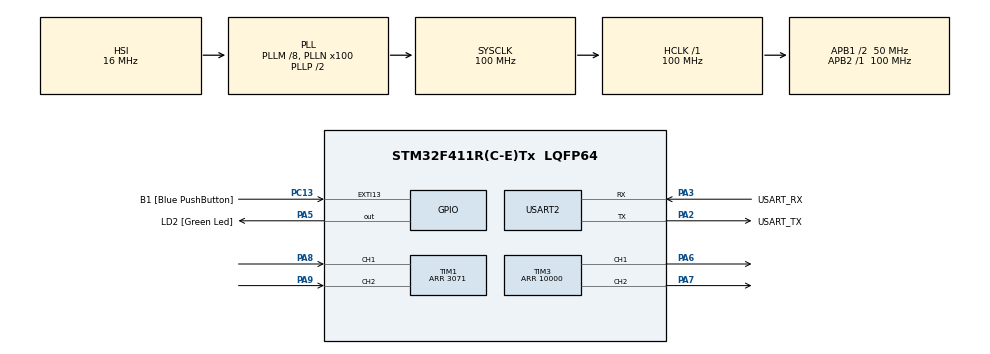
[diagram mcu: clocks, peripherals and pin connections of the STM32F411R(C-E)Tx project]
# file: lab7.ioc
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Mcu.Family=STM32F4
PC15-OSC32_OUT.Mode=LSE-External-Oscillator
RCC.CortexFreq_Value=100000000
PC13-ANTI_TAMP.GPIO_Label=B1 [Blue PushButton]
PA14.GPIO_Label=TCK
PH1\ -\ OSC_OUT.Mode=HSE-External-Clock-Source
TIM1.EncoderMode=TIM_ENCODERMODE_TI12
RCC.APB1CLKDivider=RCC_HCLK_DIV2
PC14-OSC32_IN.Signal=RCC_OSC32_IN
RCC.SYSCLKSource=RCC_SYSCLKSOURCE_PLLCLK
ProjectManager.StackSize=0x400
PA3.Mode=Asynchronous
PA13.Signal=SYS_JTMS-SWDIO
PH0\ -\ OSC_IN.Mode=HSE-External-Clock-Source
SH.S_TIM1_CH1.0=TIM1_CH1,Encoder_Interface
PH0\ -\ OSC_IN.Signal=RCC_OSC_IN
ProjectManager.TargetToolchain=STM32CubeIDE
RCC.HCLKFreq_Value=100000000
RCC.APB2TimFreq_Value=100000000
TIM3.Period=10000
PA9.Signal=S_TIM1_CH2
PC15-OSC32_OUT.Signal=RCC_OSC32_OUT
RCC.AHBFreq_Value=100000000
TIM3.Channel-PWM\ Generation1\ CH1=TIM_CHANNEL_1
PA5.Signal=GPIO_Output
SH.S_TIM3_CH2.0=TIM3_CH2,PWM Generation2 CH2
RCC.HSE_VALUE=8000000
PH1\ -\ OSC_OUT.Signal=RCC_OSC_OUT
board=NUCLEO-F411RE
PC13-ANTI_TAMP.Signal=GPXTI13
RCC.VCOOutputFreq_Value=200000000
RCC.APB2Freq_Value=100000000
PC14-OSC32_IN.Mode=LSE-External-Oscillator
SH.S_TIM1_CH2.0=TIM1_CH2,Encoder_Interface
VP_TIM2_VS_ClockSourceINT.Mode=Internal
PA14.Mode=Serial_Wire
PA8.Signal=S_TIM1_CH1
SH.S_TIM3_CH1.0=TIM3_CH1,PWM Generation1 CH1
PA13.Mode=Serial_Wire
Mcu.Name=STM32F411R(C-E)Tx
PA2.Signal=USART2_TX
PA13.GPIO_Label=TMS
RCC.FLatency-AdvancedSettings=FLASH_LATENCY_3
RCC.48MHZClocksFreq_Value=50000000
PB3.Signal=SYS_JTDO-SWO
RCC.SYSCLKFreq_VALUE=100000000
Mcu.Package=LQFP64
TIM2.Prescaler=99
PA6.Signal=S_TIM3_CH1
PA5.GPIO_Label=LD2 [Green Led]
USART2.VirtualMode=VM_ASYNC
PC13-ANTI_TAMP.GPIO_ModeDefaultEXTI=GPIO_MODE_IT_FALLING
PA2.GPIO_Label=USART_TX
PA14.Signal=SYS_JTCK-SWCLK
ProjectManager.HeapSize=0x200
RCC.HSI_VALUE=16000000
NVIC.PriorityGroup=NVIC_PRIORITYGROUP_0
TIM3.Channel-PWM\ Generation2\ CH2=TIM_CHANNEL_2
RCC.PLLM=8
RCC.PLLN=100
RCC.APB1TimFreq_Value=100000000
PA2.Mode=Asynchronous
TIM1.Period=3071
RCC.APB1Freq_Value=50000000
VP_TIM3_VS_ClockSourceINT.Mode=Internal
PA3.GPIO_Label=USART_RX
PA3.Signal=USART2_RX
PA7.Signal=S_TIM3_CH2
PB3.GPIO_Label=SWO

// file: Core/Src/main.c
/* USER CODE BEGIN Header */
/**
 ******************************************************************************
 * @file           : main.c
 * @brief          : Main program body
 ******************************************************************************
 * @attention
 *
 * <h2><center>&copy; Copyright (c) 2021 STMicroelectronics.
 * All rights reserved.</center></h2>
 *
 * This software component is licensed by ST under BSD 3-Clause license,
 * the "License"; You may not use this file except in compliance with the
 * License. You may obtain a copy of the License at:
 *                        opensource.org/licenses/BSD-3-Clause
 *
 ******************************************************************************
 */
/* USER CODE END Header */
#include "main.h"

TIM_HandleTypeDef htim1;
TIM_HandleTypeDef htim2;
TIM_HandleTypeDef htim3;

UART_HandleTypeDef huart2;

/* USER CODE BEGIN PV */
int OUTPUTPWM = 3000;
uint64_t _micros = 0;
float EncoderVel = 0;
float SETUP_RPM = 0;
float EncoderRPM = 0;
uint64_t Timestamp_Encoder = 0;
float KP = 87;
float KI = 0.4;
float KD = 2;
float SummaryError;
float ErrorValue;
float LastError;
/* USER CODE END PV */

void SystemClock_Config(void);
static void MX_GPIO_Init(void);
static void MX_USART2_UART_Init(void);
static void MX_TIM1_Init(void);
static void MX_TIM2_Init(void);
static void MX_TIM3_Init(void);
/* USER CODE BEGIN PFP */
uint64_t micros();
float EncoderVelocity_Update();
/* USER CODE END PFP */

int main(void)
{

  /* MCU Configuration--------------------------------------------------------*/

  /* Reset of all peripherals, Initializes the Flash interface and the Systick. */
  HAL_Init();

  /* Configure the system clock */
  SystemClock_Config();

  /* Initialize all configured peripherals */
  MX_GPIO_Init();
  MX_USART2_UART_Init();
  MX_TIM1_Init();
  MX_TIM2_Init();
  MX_TIM3_Init();
  /* USER CODE BEGIN 2 */
	HAL_TIM_Base_Start(&htim3);
	HAL_TIM_PWM_Start(&htim3, TIM_CHANNEL_1);
	HAL_TIM_PWM_Start(&htim3, TIM_CHANNEL_2);
	HAL_TIM_Base_Start_IT(&htim2);
	HAL_TIM_Encoder_Start(&htim1, TIM_CHANNEL_ALL);
  /* USER CODE END 2 */

  /* Infinite loop */
	while (1) {

    /* USER CODE BEGIN 3 */

//		Add LPF?
		if (micros() - Timestamp_Encoder >= 1000) {
			Timestamp_Encoder = micros();
			EncoderVel = (EncoderVel * 99 + EncoderVelocity_Update()) / 100.0;
			EncoderRPM = ((EncoderRPM * 79)
					+ (EncoderVel * 60) / 3072) / 80.0;

			ControlPWM();
			RunMotor();
//			if (SETUP_RPM > 0) {
//				__HAL_TIM_SET_COMPARE(&htim3, TIM_CHANNEL_1, OUTPUTPWM);
//				__HAL_TIM_SET_COMPARE(&htim3, TIM_CHANNEL_2, 0);
//
//			} else if (SETUP_RPM < 0) {
//				__HAL_TIM_SET_COMPARE(&htim3, TIM_CHANNEL_1, 0);
//				__HAL_TIM_SET_COMPARE(&htim3, TIM_CHANNEL_2, OUTPUTPWM);
//
//			} else {
//				__HAL_TIM_SET_COMPARE(&htim3, TIM_CHANNEL_1, 0);
//				__HAL_TIM_SET_COMPARE(&htim3, TIM_CHANNEL_2, 0);
//
//			}
		}
	}
  /* USER CODE END 3 */
}

void SystemClock_Config(void)
{
  RCC_OscInitTypeDef RCC_OscInitStruct = {0};
  RCC_ClkInitTypeDef RCC_ClkInitStruct = {0};

  /** Configure the main internal regulator output voltage
  */
  __HAL_RCC_PWR_CLK_ENABLE();
  __HAL_PWR_VOLTAGESCALING_CONFIG(PWR_REGULATOR_VOLTAGE_SCALE1);
  /** Initializes the RCC Oscillators according to the specified parameters
  * in the RCC_OscInitTypeDef structure.
  */
  RCC_OscInitStruct.OscillatorType = RCC_OSCILLATORTYPE_HSI;
  RCC_OscInitStruct.HSIState = RCC_HSI_ON;
  RCC_OscInitStruct.HSICalibrationValue = RCC_HSICALIBRATION_DEFAULT;
  RCC_OscInitStruct.PLL.PLLState = RCC_PLL_ON;
  RCC_OscInitStruct.PLL.PLLSource = RCC_PLLSOURCE_HSI;
  RCC_OscInitStruct.PLL.PLLM = 8;
  RCC_OscInitStruct.PLL.PLLN = 100;
  RCC_OscInitStruct.PLL.PLLP = RCC_PLLP_DIV2;
  RCC_OscInitStruct.PLL.PLLQ = 4;
  if (HAL_RCC_OscConfig(&RCC_OscInitStruct) != HAL_OK)
  {
    Error_Handler();
  }
  /** Initializes the CPU, AHB and APB buses clocks
  */
  RCC_ClkInitStruct.ClockType = RCC_CLOCKTYPE_HCLK|RCC_CLOCKTYPE_SYSCLK
                              |RCC_CLOCKTYPE_PCLK1|RCC_CLOCKTYPE_PCLK2;
  RCC_ClkInitStruct.SYSCLKSource = RCC_SYSCLKSOURCE_PLLCLK;
  RCC_ClkInitStruct.AHBCLKDivider = RCC_SYSCLK_DIV1;
  RCC_ClkInitStruct.APB1CLKDivider = RCC_HCLK_DIV2;
  RCC_ClkInitStruct.APB2CLKDivider = RCC_HCLK_DIV1;

  if (HAL_RCC_ClockConfig(&RCC_ClkInitStruct, FLASH_LATENCY_3) != HAL_OK)
  {
    Error_Handler();
  }
}

static void MX_TIM1_Init(void)
{

  TIM_Encoder_InitTypeDef sConfig = {0};
  TIM_MasterConfigTypeDef sMasterConfig = {0};

  htim1.Instance = TIM1;
  htim1.Init.Prescaler = 0;
  htim1.Init.CounterMode = TIM_COUNTERMODE_UP;
  htim1.Init.Period = 3071;
  htim1.Init.ClockDivision = TIM_CLOCKDIVISION_DIV1;
  htim1.Init.RepetitionCounter = 0;
  htim1.Init.AutoReloadPreload = TIM_AUTORELOAD_PRELOAD_DISABLE;
  sConfig.EncoderMode = TIM_ENCODERMODE_TI12;
  sConfig.IC1Polarity = TIM_ICPOLARITY_RISING;
  sConfig.IC1Selection = TIM_ICSELECTION_DIRECTTI;
  sConfig.IC1Prescaler = TIM_ICPSC_DIV1;
  sConfig.IC1Filter = 2;
  sConfig.IC2Polarity = TIM_ICPOLARITY_RISING;
  sConfig.IC2Selection = TIM_ICSELECTION_DIRECTTI;
  sConfig.IC2Prescaler = TIM_ICPSC_DIV1;
  sConfig.IC2Filter = 2;
  if (HAL_TIM_Encoder_Init(&htim1, &sConfig) != HAL_OK)
  {
    Error_Handler();
  }
  sMasterConfig.MasterOutputTrigger = TIM_TRGO_RESET;
  sMasterConfig.MasterSlaveMode = TIM_MASTERSLAVEMODE_DISABLE;
  if (HAL_TIMEx_MasterConfigSynchronization(&htim1, &sMasterConfig) != HAL_OK)
  {
    Error_Handler();
  }

}

static void MX_TIM2_Init(void)
{

  TIM_ClockConfigTypeDef sClockSourceConfig = {0};
  TIM_MasterConfigTypeDef sMasterConfig = {0};

  htim2.Instance = TIM2;
  htim2.Init.Prescaler = 99;
  htim2.Init.CounterMode = TIM_COUNTERMODE_UP;
  htim2.Init.Period = 4294967295;
  htim2.Init.ClockDivision = TIM_CLOCKDIVISION_DIV1;
  htim2.Init.AutoReloadPreload = TIM_AUTORELOAD_PRELOAD_DISABLE;
  if (HAL_TIM_Base_Init(&htim2) != HAL_OK)
  {
    Error_Handler();
  }
  sClockSourceConfig.ClockSource = TIM_CLOCKSOURCE_INTERNAL;
  if (HAL_TIM_ConfigClockSource(&htim2, &sClockSourceConfig) != HAL_OK)
  {
    Error_Handler();
  }
  sMasterConfig.MasterOutputTrigger = TIM_TRGO_RESET;
  sMasterConfig.MasterSlaveMode = TIM_MASTERSLAVEMODE_DISABLE;
  if (HAL_TIMEx_MasterConfigSynchronization(&htim2, &sMasterConfig) != HAL_OK)
  {
    Error_Handler();
  }

}

static void MX_TIM3_Init(void)
{

  TIM_ClockConfigTypeDef sClockSourceConfig = {0};
  TIM_MasterConfigTypeDef sMasterConfig = {0};
  TIM_OC_InitTypeDef sConfigOC = {0};

  htim3.Instance = TIM3;
  htim3.Init.Prescaler = 99;
  htim3.Init.CounterMode = TIM_COUNTERMODE_UP;
  htim3.Init.Period = 10000;
  htim3.Init.ClockDivision = TIM_CLOCKDIVISION_DIV1;
  htim3.Init.AutoReloadPreload = TIM_AUTORELOAD_PRELOAD_DISABLE;
  if (HAL_TIM_Base_Init(&htim3) != HAL_OK)
  {
    Error_Handler();
  }
  sClockSourceConfig.ClockSource = TIM_CLOCKSOURCE_INTERNAL;
  if (HAL_TIM_ConfigClockSource(&htim3, &sClockSourceConfig) != HAL_OK)
  {
    Error_Handler();
  }
  if (HAL_TIM_PWM_Init(&htim3) != HAL_OK)
  {
    Error_Handler();
  }
  sMasterConfig.MasterOutputTrigger = TIM_TRGO_RESET;
  sMasterConfig.MasterSlaveMode = TIM_MASTERSLAVEMODE_DISABLE;
  if (HAL_TIMEx_MasterConfigSynchronization(&htim3, &sMasterConfig) != HAL_OK)
  {
    Error_Handler();
  }
  sConfigOC.OCMode = TIM_OCMODE_PWM1;
  sConfigOC.Pulse = 0;
  sConfigOC.OCPolarity = TIM_OCPOLARITY_HIGH;
  sConfigOC.OCFastMode = TIM_OCFAST_DISABLE;
  if (HAL_TIM_PWM_ConfigChannel(&htim3, &sConfigOC, TIM_CHANNEL_1) != HAL_OK)
  {
    Error_Handler();
  }
  if (HAL_TIM_PWM_ConfigChannel(&htim3, &sConfigOC, TIM_CHANNEL_2) != HAL_OK)
  {
    Error_Handler();
  }
  HAL_TIM_MspPostInit(&htim3);

}

static void MX_USART2_UART_Init(void)
{

  huart2.Instance = USART2;
  huart2.Init.BaudRate = 115200;
  huart2.Init.WordLength = UART_WORDLENGTH_8B;
  huart2.Init.StopBits = UART_STOPBITS_1;
  huart2.Init.Parity = UART_PARITY_NONE;
  huart2.Init.Mode = UART_MODE_TX_RX;
  huart2.Init.HwFlowCtl = UART_HWCONTROL_NONE;
  huart2.Init.OverSampling = UART_OVERSAMPLING_16;
  if (HAL_UART_Init(&huart2) != HAL_OK)
  {
    Error_Handler();
  }

}

static void MX_GPIO_Init(void)
{
  GPIO_InitTypeDef GPIO_InitStruct = {0};

  /* GPIO Ports Clock Enable */
  __HAL_RCC_GPIOC_CLK_ENABLE();
  __HAL_RCC_GPIOH_CLK_ENABLE();
  __HAL_RCC_GPIOA_CLK_ENABLE();
  __HAL_RCC_GPIOB_CLK_ENABLE();

  /*Configure GPIO pin Output Level */
  HAL_GPIO_WritePin(LD2_GPIO_Port, LD2_Pin, GPIO_PIN_RESET);

  /*Configure GPIO pin : B1_Pin */
  GPIO_InitStruct.Pin = B1_Pin;
  GPIO_InitStruct.Mode = GPIO_MODE_IT_FALLING;
  GPIO_InitStruct.Pull = GPIO_NOPULL;
  HAL_GPIO_Init(B1_GPIO_Port, &GPIO_InitStruct);

  /*Configure GPIO pin : LD2_Pin */
  GPIO_InitStruct.Pin = LD2_Pin;
  GPIO_InitStruct.Mode = GPIO_MODE_OUTPUT_PP;
  GPIO_InitStruct.Pull = GPIO_NOPULL;
  GPIO_InitStruct.Speed = GPIO_SPEED_FREQ_LOW;
  HAL_GPIO_Init(LD2_GPIO_Port, &GPIO_InitStruct);

}

/* USER CODE BEGIN 4 */
#define  HTIM_ENCODER htim1
#define  MAX_SUBPOSITION_OVERFLOW 1536
#define  MAX_ENCODER_PERIOD 3072
uint32_t EncoderNowPosition = 0;
float EncoderVelocity_Update() {
	//Save Last state
	static uint32_t EncoderLastPosition = 0;
	static uint64_t EncoderLastTimestamp = 0;

	//read data
	EncoderNowPosition = HTIM_ENCODER.Instance->CNT;
	uint64_t EncoderNowTimestamp = micros();

	int32_t EncoderPositionDiff;
	uint64_t EncoderTimeDiff;

	EncoderTimeDiff = EncoderNowTimestamp - EncoderLastTimestamp;
	EncoderPositionDiff = EncoderNowPosition - EncoderLastPosition;

	//compensate overflow and underflow
	if (EncoderPositionDiff >= MAX_SUBPOSITION_OVERFLOW) {
		EncoderPositionDiff -= MAX_ENCODER_PERIOD;
	} else if (-EncoderPositionDiff >= MAX_SUBPOSITION_OVERFLOW) {
		EncoderPositionDiff += MAX_ENCODER_PERIOD;
	}

	//Update Position and time
	EncoderLastPosition = EncoderNowPosition;
	EncoderLastTimestamp = EncoderNowTimestamp;

	//Calculate velocity
	//EncoderTimeDiff is in uS
	return (EncoderPositionDiff * 1000000) / (float) EncoderTimeDiff;

}
void ControlPWM() {
//	static float SummaryError, ErrorValue, LastError;
	if (SETUP_RPM >= 0) {
		ErrorValue = SETUP_RPM - EncoderRPM; //find deviation error
	}
		else if (SETUP_RPM < 0) {
		ErrorValue = -1*(SETUP_RPM - EncoderRPM);
	}
	SummaryError += ErrorValue; //find intregral of deviation
			OUTPUTPWM = KP * ErrorValue + (KI * SummaryError)
					+ KD * (ErrorValue - LastError);
			LastError = ErrorValue; // save ;
//			if(OUTPUTPWM > 10000){
//				OUTPUTPWM = 10000;
//			}
//			if(OUTPUTPWM < -10000){
//				OUTPUTPWM = -10000;
//						}
			return OUTPUTPWM;
}
void RunMotor() {
	if (SETUP_RPM > 0) {
		__HAL_TIM_SET_COMPARE(&htim3, TIM_CHANNEL_1, OUTPUTPWM);
		__HAL_TIM_SET_COMPARE(&htim3, TIM_CHANNEL_2, 0);

	} else if (SETUP_RPM < 0) {
		__HAL_TIM_SET_COMPARE(&htim3, TIM_CHANNEL_1, 0);
		__HAL_TIM_SET_COMPARE(&htim3, TIM_CHANNEL_2, OUTPUTPWM);

	} else {
		__HAL_TIM_SET_COMPARE(&htim3, TIM_CHANNEL_1, 0);
		__HAL_TIM_SET_COMPARE(&htim3, TIM_CHANNEL_2, 0);

	}
	return OUTPUTPWM;
}
void HAL_TIM_PeriodElapsedCallback(TIM_HandleTypeDef *htim) {
	if (htim == &htim2) {
		_micros += 4294967295;
	}
}
uint64_t micros() {
	return _micros + htim2.Instance->CNT;
}
/* USER CODE END 4 */

void Error_Handler(void)
{
	__disable_irq();
	while (1) {
	}
}

/************************ (C) COPYRIGHT STMicroelectronics *****END OF FILE****/
